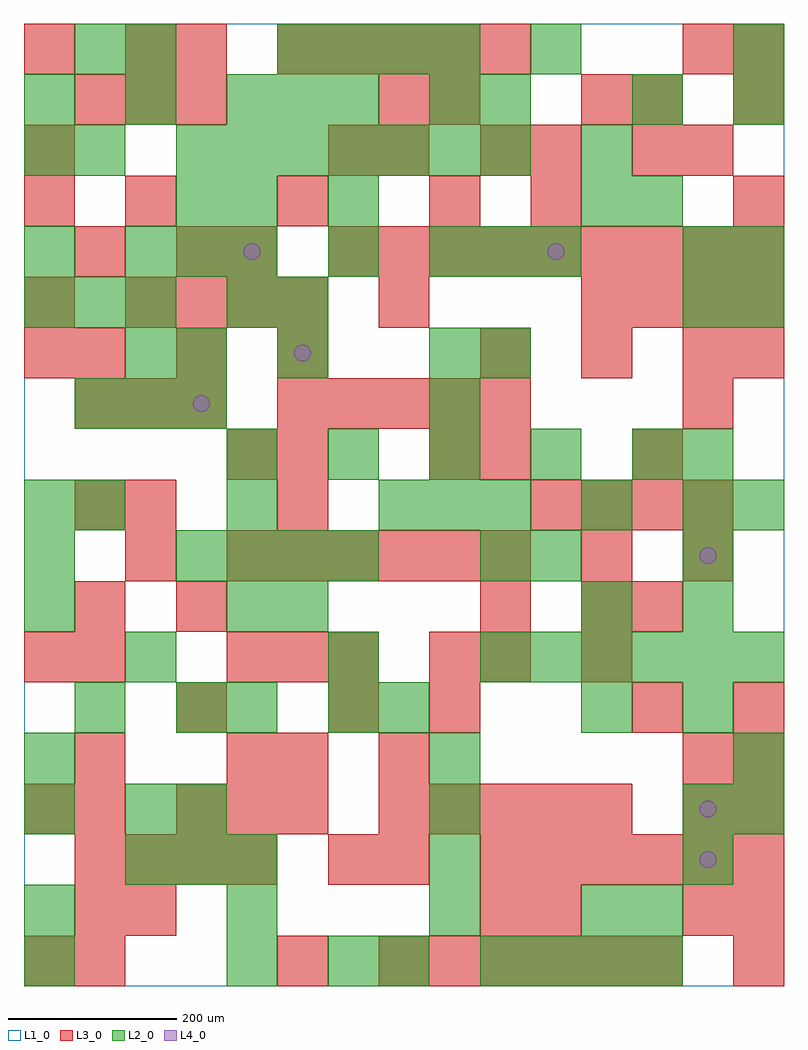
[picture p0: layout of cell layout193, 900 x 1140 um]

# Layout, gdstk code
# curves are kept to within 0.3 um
import gdstk
lib = gdstk.Library(unit=1e-6, precision=1e-09)
def R(c, l, rs):  # rectangles x0, y0, x1, y1
    for r in rs: c.add(gdstk.rectangle(r[:2], r[2:], *l))
def A(c, l, x, y, w, h, nx, ny, dx, dy):  # array of equal rectangles
    R(c, l, [(x+i*dx, y+j*dy, x+i*dx+w, y+j*dy+h) for i in range(nx) for j in range(ny)])
def P(c, l, *ps):  # polygons
    for p in ps: c.add(gdstk.Polygon(p, *l))
L1_0 = (1, 0)
L2_0 = (2, 0)
L3_0 = (3, 0)
L4_0 = (4, 0)

layout193 = lib.new_cell('layout193')
R(layout193, L1_0, [(0,0,900,1140)])
A(layout193, L2_0, 540, 0, 60, 60, 4, 1, 60, 0)
A(layout193, L2_0, 0, 60, 60, 60, 3, 1, 240, 0)
A(layout193, L2_0, 120, 120, 60, 60, 3, 2, 60, 720)
A(layout193, L2_0, 180, 180, 60, 60, 3, 1, 300, 0)
A(layout193, L2_0, 120, 360, 60, 60, 1, 3, 0, 360)
A(layout193, L2_0, 540, 360, 60, 60, 6, 1, 60, 0)
A(layout193, L2_0, 0, 420, 60, 60, 1, 3, 0, 60)
A(layout193, L2_0, 180, 480, 60, 60, 4, 1, 60, 0)
A(layout193, L2_0, 60, 540, 60, 60, 3, 1, 180, 0)
A(layout193, L2_0, 540, 540, 60, 60, 3, 1, 120, 0)
A(layout193, L2_0, 240, 600, 60, 60, 5, 1, 120, 0)
A(layout193, L2_0, 60, 660, 60, 60, 3, 1, 60, 0)
A(layout193, L2_0, 0, 780, 60, 60, 3, 1, 60, 0)
A(layout193, L2_0, 480, 840, 60, 60, 3, 1, 60, 0)
A(layout193, L2_0, 180, 960, 60, 60, 7, 1, 60, 0)
A(layout193, L2_0, 0, 1020, 60, 60, 3, 1, 120, 0)
A(layout193, L2_0, 300, 1080, 60, 60, 4, 1, 60, 0)
R(layout193, L2_0, [(0,0,60,60), (240,0,300,60), (360,0,420,60), (420,0,480,60), (660,60,720,120), (720,60,780,120), (480,120,540,180), (780,120,840,180), (0,180,60,240), (120,180,180,240), (840,180,900,240), (0,240,60,300), (480,240,540,300), (840,240,900,300), (60,300,120,360), (180,300,240,360), (240,300,300,360), (360,300,420,360), (420,300,480,360), (660,300,720,360), (780,300,840,360), (360,360,420,420), (240,420,300,480), (300,420,360,480), (660,420,720,480), (780,420,840,480), (540,480,600,540), (600,480,660,540), (780,480,840,540), (480,540,540,600), (840,540,900,600), (780,600,840,660), (480,660,540,720), (180,720,240,780), (300,720,360,780), (480,720,540,780), (540,720,600,780), (240,780,300,840), (300,780,360,840), (780,780,840,840), (840,780,900,840), (0,840,60,900), (360,840,420,900), (780,840,840,900), (840,840,900,900), (180,900,240,960), (240,900,300,960), (360,900,420,960), (660,900,720,960), (720,900,780,960), (0,960,60,1020), (60,960,120,1020), (660,960,720,1020), (300,1020,360,1080), (360,1020,420,1080), (480,1020,540,1080), (540,1020,600,1080), (720,1020,780,1080), (840,1020,900,1080), (60,1080,120,1140), (600,1080,660,1140), (840,1080,900,1140)])
A(layout193, L3_0, 0, 0, 60, 60, 1, 3, 0, 180)
A(layout193, L3_0, 420, 0, 60, 60, 6, 1, 60, 0)
A(layout193, L3_0, 60, 120, 60, 60, 4, 1, 60, 0)
A(layout193, L3_0, 540, 120, 60, 60, 6, 1, 60, 0)
A(layout193, L3_0, 180, 180, 60, 60, 3, 1, 60, 0)
A(layout193, L3_0, 420, 180, 60, 60, 5, 1, 60, 0)
A(layout193, L3_0, 840, 180, 60, 60, 1, 3, 0, 60)
A(layout193, L3_0, 240, 360, 60, 60, 3, 1, 60, 0)
A(layout193, L3_0, 660, 360, 60, 60, 1, 3, 0, 60)
A(layout193, L3_0, 240, 480, 60, 60, 6, 1, 60, 0)
A(layout193, L3_0, 600, 540, 60, 60, 4, 1, 60, 0)
A(layout193, L3_0, 60, 660, 60, 60, 3, 2, 60, 360)
A(layout193, L3_0, 300, 660, 60, 60, 5, 2, 60, 420)
A(layout193, L3_0, 60, 720, 60, 60, 3, 1, 120, 0)
A(layout193, L3_0, 540, 720, 60, 60, 3, 1, 120, 0)
A(layout193, L3_0, 120, 780, 60, 60, 4, 1, 60, 0)
A(layout193, L3_0, 660, 780, 60, 60, 4, 1, 60, 0)
A(layout193, L3_0, 360, 840, 60, 60, 9, 1, 60, 0)
A(layout193, L3_0, 120, 900, 60, 60, 3, 1, 180, 0)
R(layout193, L3_0, [(60,0,120,60), (300,0,360,60), (840,0,900,60), (60,60,120,120), (120,60,180,120), (540,60,600,120), (600,60,660,120), (780,60,840,120), (840,60,900,120), (360,120,420,180), (420,120,480,180), (60,180,120,240), (780,180,840,240), (60,240,120,300), (240,240,300,300), (300,240,360,300), (420,240,480,300), (780,240,840,300), (180,300,240,360), (360,300,420,360), (480,300,540,360), (720,300,780,360), (60,360,120,420), (480,360,540,420), (540,360,600,420), (60,420,120,480), (180,420,240,480), (540,420,600,480), (720,420,780,480), (120,480,180,540), (780,480,840,540), (60,540,120,600), (120,540,180,600), (300,540,360,600), (240,600,300,660), (300,600,360,660), (480,600,540,660), (540,600,600,660), (720,600,780,660), (780,660,840,720), (0,720,60,780), (840,720,900,780), (0,780,60,840), (420,780,480,840), (60,840,120,900), (180,840,240,900), (240,840,300,900), (0,900,60,960), (600,900,660,960), (840,900,900,960), (0,960,60,1020), (360,960,420,1020), (420,960,480,1020), (540,960,600,1020), (600,960,660,1020), (720,960,780,1020), (780,960,840,1020), (420,1020,480,1080), (480,1020,540,1080), (660,1020,720,1080), (720,1020,780,1080), (840,1020,900,1080), (0,1080,60,1140), (120,1080,180,1140), (180,1080,240,1140), (780,1080,840,1140), (840,1080,900,1140)])
P(layout193, L4_0, [(220,690),(219.239,693.827),(217.071,697.071),(213.827,699.239),(210,700),(206.173,699.239),(202.929,697.071),(200.761,693.827),(200,690),(200.761,686.173),(202.929,682.929),(206.173,680.761),(210,680),(213.827,680.761),(217.071,682.929),(219.239,686.173)],
  [(280,870),(279.239,873.827),(277.071,877.071),(273.827,879.239),(270,880),(266.173,879.239),(262.929,877.071),(260.761,873.827),(260,870),(260.761,866.173),(262.929,862.929),(266.173,860.761),(270,860),(273.827,860.761),(277.071,862.929),(279.239,866.173)],
  [(340,750),(339.239,753.827),(337.071,757.071),(333.827,759.239),(330,760),(326.173,759.239),(322.929,757.071),(320.761,753.827),(320,750),(320.761,746.173),(322.929,742.929),(326.173,740.761),(330,740),(333.827,740.761),(337.071,742.929),(339.239,746.173)],
  [(640,870),(639.239,873.827),(637.071,877.071),(633.827,879.239),(630,880),(626.173,879.239),(622.929,877.071),(620.761,873.827),(620,870),(620.761,866.173),(622.929,862.929),(626.173,860.761),(630,860),(633.827,860.761),(637.071,862.929),(639.239,866.173)],
  [(820,150),(819.239,153.827),(817.071,157.071),(813.827,159.239),(810,160),(806.173,159.239),(802.929,157.071),(800.761,153.827),(800,150),(800.761,146.173),(802.929,142.929),(806.173,140.761),(810,140),(813.827,140.761),(817.071,142.929),(819.239,146.173)],
  [(820,210),(819.239,213.827),(817.071,217.071),(813.827,219.239),(810,220),(806.173,219.239),(802.929,217.071),(800.761,213.827),(800,210),(800.761,206.173),(802.929,202.929),(806.173,200.761),(810,200),(813.827,200.761),(817.071,202.929),(819.239,206.173)],
  [(820,510),(819.239,513.827),(817.071,517.071),(813.827,519.239),(810,520),(806.173,519.239),(802.929,517.071),(800.761,513.827),(800,510),(800.761,506.173),(802.929,502.929),(806.173,500.761),(810,500),(813.827,500.761),(817.071,502.929),(819.239,506.173)])

lib.write_gds('layout193.gds')
